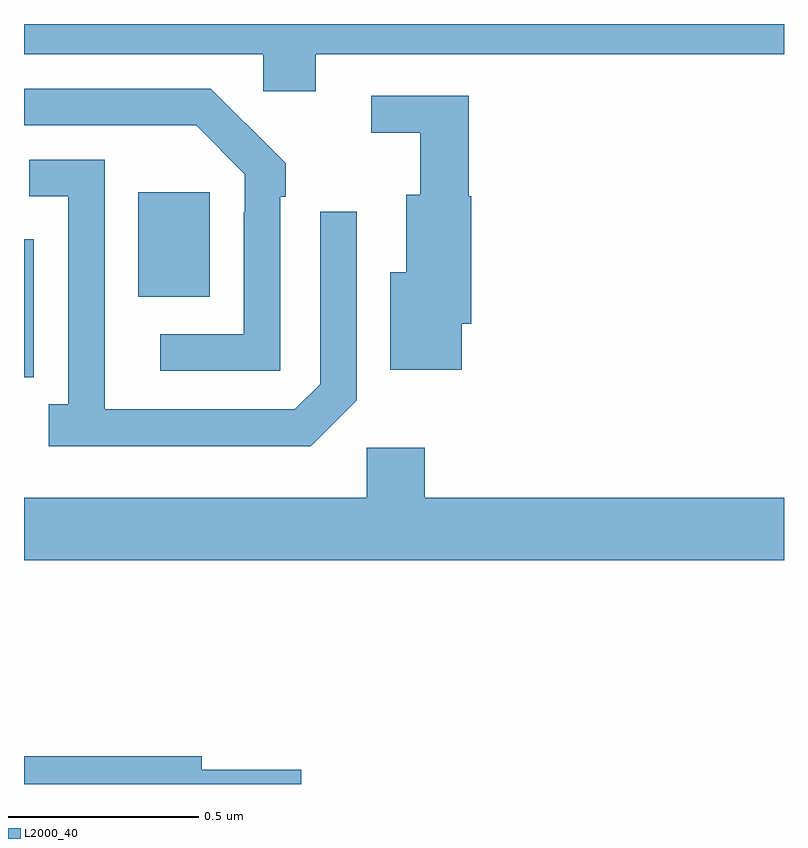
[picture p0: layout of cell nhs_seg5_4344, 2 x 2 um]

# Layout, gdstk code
import gdstk
lib = gdstk.Library(unit=1e-6, precision=1e-09)
def R(c, l, rs):  # rectangles x0, y0, x1, y1
    for r in rs: c.add(gdstk.rectangle(r[:2], r[2:], *l))
def P(c, l, *ps):  # polygons
    for p in ps: c.add(gdstk.Polygon(p, *l))
L2000_40 = (2000, 40)

nhs_seg5_4344 = lib.new_cell('nhs_seg5_4344')
R(nhs_seg5_4344, L2000_40, [(169.301,896.081,169.489,896.356)])
P(nhs_seg5_4344, L2000_40, [(169.768,896.72),(171,896.72),(171,896.799),(169,896.799),(169,896.72),(169.629,896.72),(169.629,896.622),(169.768,896.622)],
  [(169.674,896.345),(169.689,896.345),(169.689,896.433),(169.584,896.538),(169.583,896.537),(169.492,896.628),(169,896.628),(169,896.532),(169.453,896.532),(169.581,896.403),(169.581,896.303),(169.578,896.303),(169.578,895.983),(169.359,895.983),(169.359,895.887),(169.674,895.887)],
  [(170.152,896.01),(170.177,896.01),(170.177,896.346),(170.171,896.346),(170.171,896.61),(169.914,896.61),(169.914,896.513),(170.043,896.513),(170.043,896.35),(170.006,896.35),(170.006,896.146),(169.964,896.146),(169.964,895.889),(170.152,895.889)],
  [(169.875,895.809),(169.875,896.305),(169.779,896.305),(169.779,895.851),(169.713,895.785),(169.213,895.785),(169.213,895.985),(169.212,895.985),(169.212,896.442),(169.014,896.442),(169.014,896.346),(169.116,896.346),(169.116,895.798),(169.065,895.798),(169.065,895.688),(169.754,895.688)],
  [(169.025,895.978),(169.026,895.978),(169.026,896.233),(169,896.233),(169,895.869),(169.025,895.869)],
  [(171,895.552),(170.054,895.552),(170.054,895.684),(169.902,895.684),(169.902,895.552),(169,895.552),(169,895.388),(171,895.388)],
  [(169.729,894.836),(169.468,894.836),(169.468,894.872),(169,894.872),(169,894.799),(169.729,894.799)])

lib.write_gds('nhs_seg5_4344.gds')
